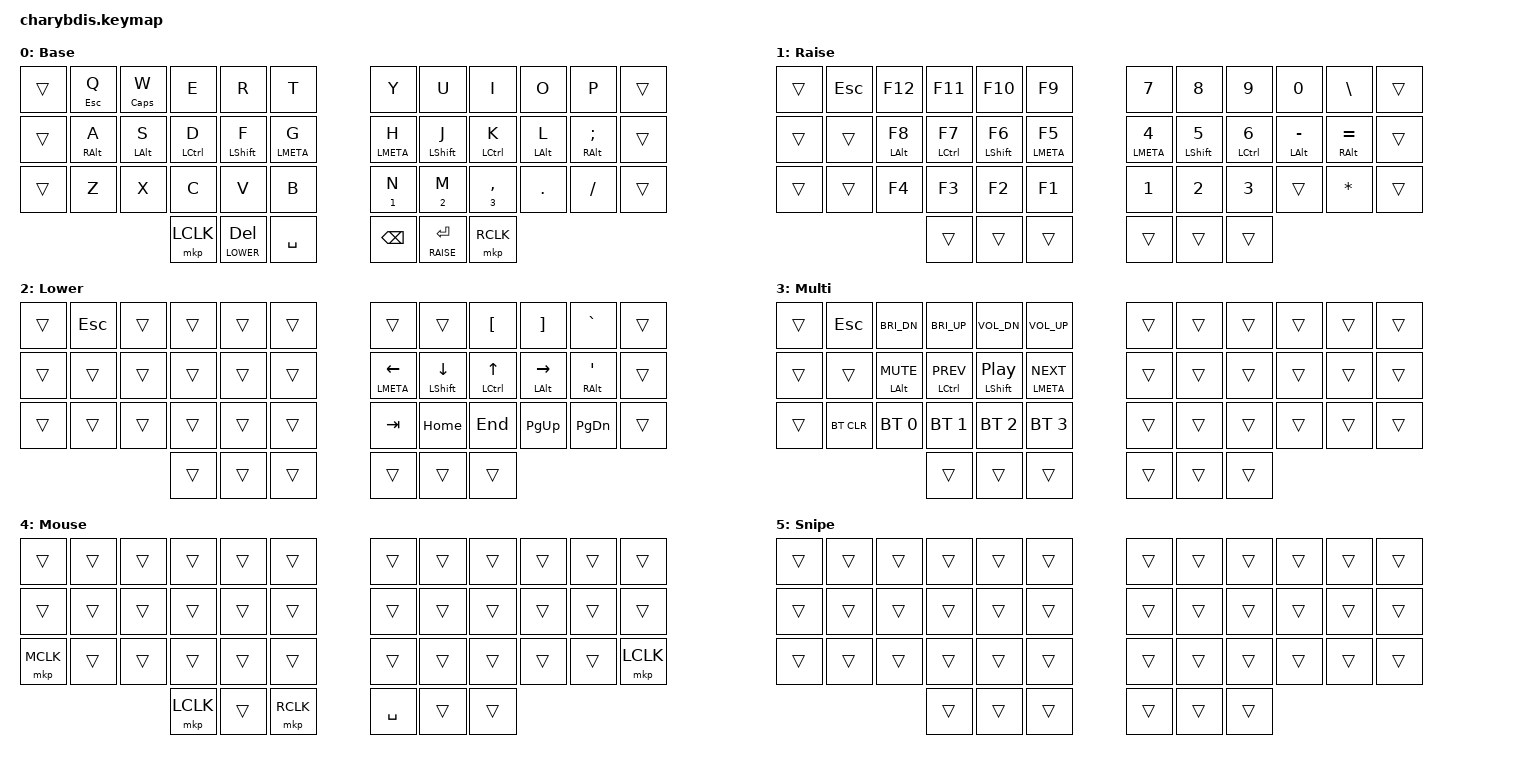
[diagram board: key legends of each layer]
#include <behaviors.dtsi>
#include <dt-bindings/zmk/keys.h>
#include <dt-bindings/zmk/bt.h>
#include <dt-bindings/zmk/ext_power.h>
#include <dt-bindings/zmk/mouse.h>
#include <dt-bindings/zmk/outputs.h>
#include "charybdis_parameters.h"

/ {
    behaviors {
        hm: homerow_mods {
            compatible = "zmk,behavior-hold-tap";
            #binding-cells = <2>;
            tapping-term-ms = <200>;
            quick-tap-ms = <125>;
            require-prior-idle-ms = <125>;
            flavor = "tap-preferred";
            bindings = <&kp>, <&kp>;
        };
        lt: layer_tap {
            compatible = "zmk,behavior-hold-tap";
            #binding-cells = <2>;
            flavor = "balanced";
            tapping-term-ms = <240>;
            quick-tap-ms = <150>;
            bindings = <&mo>, <&kp>;
        };
    };

    conditional_layers {
        compatible = "zmk,conditional-layers";
        tri_layer {
            if-layers = <RAISE LOWER>;
            then-layer = <MULTI>;
        };
    };

    keymap {
        compatible = "zmk,keymap";

        Base {
            label = "Base";
            display-name = "Base";
            bindings = <
   &trans &hm ESC  Q &hm CAPS W &kp E       &kp R         &kp T         &kp Y       &kp U           &kp I        &kp O      &kp P         &trans
   &trans &hm RALT A &hm LALT S &hm LCTRL D &hm LSHIFT F  &hm LMETA G   &hm LMETA H &hm LSHIFT J    &hm LCTRL  K  &hm LALT L &hm RALT SEMI &trans
   &trans &kp Z      &kp X      &kp C       &kp V         &kp B         &hm N1    N &hm N2     M    &hm N3 COMMA  &kp DOT    &kp FSLH      &trans
                                &mkp LCLK   &lt LOWER DEL &kp SPACE     &kp BSPC    &lt RAISE RET   &mkp RCLK
            >;
        };

        raise_layer {
            label = "Raise";
            display-name = "Raise";
            bindings = <
   &trans &kp ESC     &kp F12      &kp F11       &kp F10        &kp F9         &kp N7        &kp N8         &kp N9        &kp N0          &kp BSLH        &trans
   &trans &trans      &hm LALT F8  &hm LCTRL F7  &hm LSHIFT F6  &hm LMETA F5   &hm LMETA N4  &hm LSHIFT N5  &hm LCTRL N6  &hm LALT MINUS  &hm RALT EQUAL  &trans
   &trans &trans      &kp F4       &kp F3        &kp F2         &kp F1         &kp N1        &kp N2         &kp N3        &trans          &kp STAR        &trans
                                   &trans        &trans         &trans         &trans        &trans         &trans
            >;
        };

        lower_layer {
            label = "Lower";
            display-name = "Lower";
            bindings = <
   &trans  &kp ESC  &trans  &trans  &trans  &trans  &trans           &trans           &kp LBKT      &kp RBKT        &kp GRAVE     &trans
   &trans  &trans   &trans  &trans  &trans  &trans  &hm LMETA LEFT   &hm LSHIFT DOWN  &hm LCTRL UP  &hm LALT RIGHT  &hm RALT SQT  &trans
   &trans  &trans   &trans  &trans  &trans  &trans  &kp TAB          &kp HOME         &kp END       &kp PG_UP       &kp PG_DN     &trans
                            &trans  &trans  &trans  &trans           &trans           &trans
            >;
        };

        multi_layer {
            label = "Multi";
            display-name = "Multi";
            bindings = <
   &trans &kp ESC     &kp C_BRI_DN     &kp C_BRI_UP      &kp C_VOL_DN             &kp C_VOL_UP      &trans  &trans  &trans  &trans  &trans  &trans
   &trans &trans      &hm LALT C_MUTE  &hm LCTRL C_PREV  &hm LSHIFT C_PLAY_PAUSE  &hm LMETA C_NEXT  &trans  &trans  &trans  &trans  &trans  &trans
   &trans &bt BT_CLR  &bt BT_SEL 0     &bt BT_SEL 1      &bt BT_SEL 2             &bt BT_SEL 3      &trans  &trans  &trans  &trans  &trans  &trans
                                        &trans            &trans                   &trans            &trans  &trans  &trans
            >;
        };

        mouse_layer {
            label = "Mouse";
            display-name = "Mouse";
            bindings = <
   &trans     &trans  &trans  &trans     &trans     &trans    &trans     &trans  &trans  &trans  &trans  &trans
   &trans     &trans  &trans  &trans     &trans     &trans    &trans     &trans  &trans  &trans  &trans  &trans
   &mkp MCLK  &trans  &trans  &trans     &trans     &trans    &trans     &trans  &trans  &trans  &trans  &mkp LCLK
                              &mkp LCLK  &trans  &mkp RCLK    &kp SPACE  &trans  &trans
            >;
        };

        snipe_layer {
            label = "Snipe";
            display-name = "Snipe";
            bindings = <
   &trans  &trans  &trans  &trans  &trans  &trans  &trans  &trans  &trans  &trans  &trans  &trans
   &trans  &trans  &trans  &trans  &trans  &trans  &trans  &trans  &trans  &trans  &trans  &trans
   &trans  &trans  &trans  &trans  &trans  &trans  &trans  &trans  &trans  &trans  &trans  &trans
                           &trans  &trans  &trans  &trans  &trans  &trans
            >;
        };
    };
};
